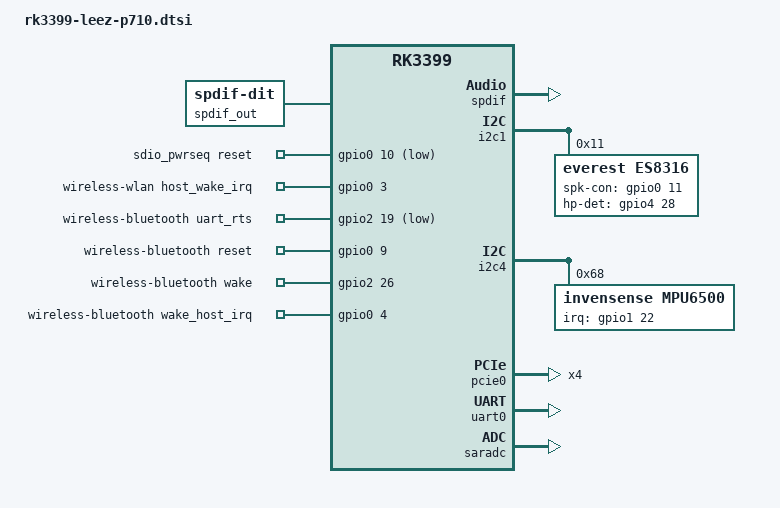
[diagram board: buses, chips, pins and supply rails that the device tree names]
/*
 * Copyright (c) 2016 Fuzhou Rockchip Electronics Co., Ltd
 *
 * This file is dual-licensed: you can use it either under the terms
 * of the GPL or the X11 license, at your option. Note that this dual
 * licensing only applies to this file, and not this project as a
 * whole.
 *
 *  a) This file is free software; you can redistribute it and/or
 *     modify it under the terms of the GNU General Public License as
 *     published by the Free Software Foundation; either version 2 of the
 *     License, or (at your option) any later version.
 *
 *     This file is distributed in the hope that it will be useful,
 *     but WITHOUT ANY WARRANTY; without even the implied warranty of
 *     MERCHANTABILITY or FITNESS FOR A PARTICULAR PURPOSE.  See the
 *     GNU General Public License for more details.
 *
 * Or, alternatively,
 *
 *  b) Permission is hereby granted, free of charge, to any person
 *     obtaining a copy of this software and associated documentation
 *     files (the "Software"), to deal in the Software without
 *     restriction, including without limitation the rights to use,
 *     copy, modify, merge, publish, distribute, sublicense, and/or
 *     sell copies of the Software, and to permit persons to whom the
 *     Software is furnished to do so, subject to the following
 *     conditions:
 *
 *     The above copyright notice and this permission notice shall be
 *     included in all copies or substantial portions of the Software.
 *
 *     THE SOFTWARE IS PROVIDED "AS IS", WITHOUT WARRANTY OF ANY KIND,
 *     EXPRESS OR IMPLIED, INCLUDING BUT NOT LIMITED TO THE WARRANTIES
 *     OF MERCHANTABILITY, FITNESS FOR A PARTICULAR PURPOSE AND
 *     NONINFRINGEMENT. IN NO EVENT SHALL THE AUTHORS OR COPYRIGHT
 *     HOLDERS BE LIABLE FOR ANY CLAIM, DAMAGES OR OTHER LIABILITY,
 *     WHETHER IN AN ACTION OF CONTRACT, TORT OR OTHERWISE, ARISING
 *     FROM, OUT OF OR IN CONNECTION WITH THE SOFTWARE OR THE USE OR
 *     OTHER DEALINGS IN THE SOFTWARE.
 */

#include "rk3399-p710.dtsi"

/ {
	compatible = "rockchip,rk3399-sapphire-excavator", "rockchip,rk3399";
	es8316-sound {
		status = "okay";
		compatible = "simple-audio-card";
		simple-audio-card,format = "i2s";
		simple-audio-card,name = "rockchip,es8316-codec";
		simple-audio-card,mclk-fs = <256>;
		simple-audio-card,widgets =
			"Microphone", "Mic Jack",
			"Headphone", "Headphone Jack";
		simple-audio-card,routing =
			"Mic Jack", "MICBIAS1",
			"IN1P", "Mic Jack",
			"Headphone Jack", "HPOL",
			"Headphone Jack", "HPOR";
		simple-audio-card,cpu {
			sound-dai = <&i2s1>;
		};
		simple-audio-card,codec {
			sound-dai = <&es8316>;
		};
	}; 


	spdif-sound {
		status = "diable";
		compatible = "simple-audio-card";
		simple-audio-card,name = "ROCKCHIP,SPDIF";
		simple-audio-card,cpu {
			sound-dai = <&spdif>;
		};
		simple-audio-card,codec {
			sound-dai = <&spdif_out>;
		};
	};

	spdif_out: spdif-out {
		status = "okay";
		compatible = "linux,spdif-dit";
		#sound-dai-cells = <0>;
	};

	sdio_pwrseq: sdio-pwrseq {
		compatible = "mmc-pwrseq-simple";
		clocks = <&rk808 1>;
		clock-names = "ext_clock";
		pinctrl-names = "default";
		pinctrl-0 = <&wifi_enable_h>;

		/*
		 * On the module itself this is one of these (depending
		 * on the actual card populated):
		 * - SDIO_RESET_L_WL_REG_ON
		 * - PDN (power down when low)
		 */
		reset-gpios = <&gpio0 10 GPIO_ACTIVE_LOW>; /* GPIO0_B2 */
	};

	wireless-wlan {
		compatible = "wlan-platdata";
		rockchip,grf = <&grf>;
		wifi_chip_type = "ap6354";
		sdio_vref = <1800>;
		WIFI,host_wake_irq = <&gpio0 3 GPIO_ACTIVE_HIGH>; /* GPIO0_a3 */
		status = "okay";
	};

	wireless-bluetooth {
		compatible = "bluetooth-platdata";
		clocks = <&rk808 1>;
		clock-names = "ext_clock";
		//wifi-bt-power-toggle;
		uart_rts_gpios = <&gpio2 19 GPIO_ACTIVE_LOW>; /* GPIO2_C3 */
		pinctrl-names = "default", "rts_gpio";
		pinctrl-0 = <&uart0_rts>;
		pinctrl-1 = <&uart0_gpios>;
		//BT,power_gpio  = <&gpio3 19 GPIO_ACTIVE_HIGH>; /* GPIOx_xx */
		BT,reset_gpio    = <&gpio0 9 GPIO_ACTIVE_HIGH>; /* GPIO0_B1 */
		BT,wake_gpio     = <&gpio2 26 GPIO_ACTIVE_HIGH>; /* GPIO2_D2 */
		BT,wake_host_irq = <&gpio0 4 GPIO_ACTIVE_HIGH>; /* GPIO0_A4 */
		status = "okay";
	};
};

&dfi {
	status = "disabled";
};

&dmc {
	status = "disabled";
	center-supply = <&vdd_center>;
	upthreshold = <40>;
	downdifferential = <20>;
	system-status-freq = <
		/*system status         freq(KHz)*/
		SYS_STATUS_NORMAL       800000
		SYS_STATUS_REBOOT       528000
		SYS_STATUS_SUSPEND      200000
		SYS_STATUS_VIDEO_1080P  200000
		SYS_STATUS_VIDEO_4K     600000
		SYS_STATUS_VIDEO_4K_10B 800000
		SYS_STATUS_PERFORMANCE  800000
		SYS_STATUS_BOOST        400000
		SYS_STATUS_DUALVIEW     600000
		SYS_STATUS_ISP          600000
	>;
	vop-bw-dmc-freq = <
	/* min_bw(MB/s) max_bw(MB/s) freq(KHz) */
		0       762      200000
		763     1893     400000
		1894    3012     528000
		3013    99999    800000
	>;
	auto-min-freq = <200000>;
};

&spdif {
	status = "okay";
	pinctrl-0 = <&spdif_bus>;
	i2c-scl-rising-time-ns = <450>;
	i2c-scl-falling-time-ns = <15>;
	#sound-dai-cells = <0>;
};

&i2c1 {
	status = "okay";
	i2c-scl-rising-time-ns = <300>;
	i2c-scl-falling-time-ns = <15>;

    es8316: es8316@10 {
        #sound-dai-cells = <0>;
		compatible = "everest,es8316";
		reg = <0x11>;
		clocks = <&cru SCLK_I2S_8CH_OUT>;
		clock-names = "mclk";
		pinctrl-names = "default";
		pinctrl-0 = <&i2s_8ch_mclk>;
		spk-con-gpio = <&gpio0 11 GPIO_ACTIVE_HIGH>;
		hp-det-gpio = <&gpio4 28 GPIO_ACTIVE_HIGH>;
	};  

};

&i2c4 {
	status = "okay";
	i2c-scl-rising-time-ns = <600>;
	i2c-scl-falling-time-ns = <20>;

	mpu6500@68 {
		status = "okay";
		compatible = "invensense,mpu6500";
		reg = <0x68>;
		irq-gpio = <&gpio1 22 IRQ_TYPE_EDGE_RISING>;
		mpu-int_config = <0x10>;
		mpu-level_shifter = <0>;
		mpu-orientation = <0 1 0 1 0 0 0 0 1>;
		orientation-x= <1>;
		orientation-y= <0>;
		orientation-z= <0>;
		mpu-debug = <1>;
	};
};

&spi1{
    status = "disabled";
    max-freq = <48000000>;
    spi_test@00 {
        compatible = "rockchip,spidev";
         id = <0>;
         reg = <0>;
         spi-max-frequency = <24000000>;  
    };  
    spi_test@01 {
        compatible = "rockchip,spidev";
        id = <1>;
        reg = <1>;
        spi-max-frequency = <24000000>;
        spi-cpha;
        spi-cpol;
    };  
    spi_test@03 {
        compatible = "rockchip,spi_test_bus0_cs0";
         id = <2>;
         reg = <2>;
         spi-max-frequency = <24000000>; 
    }; 
    spi_test@04 {
        compatible = "rockchip,spi_test_bus0_cs1";
        id = <3>;
        reg = <3>;
        spi-max-frequency = <24000000>;
        spi-cpha;
        spi-cpol;
    };  
};

&pcie0 {
	ep-gpios = <&gpio2 4 GPIO_ACTIVE_HIGH>;
	num-lanes = <4>;
	pinctrl-names = "default";
	pinctrl-0 = <&pcie_clkreqn>;
};

&uart0 {
	pinctrl-names = "default";
	pinctrl-0 = <&uart0_xfer &uart0_cts>;
	status = "okay";
};

&saradc {
	status = "okay";
};

&rockchip_suspend {
	status = "okay";
	rockchip,sleep-debug-en = <1>;
	rockchip,sleep-mode-config = <
		(0
		| RKPM_SLP_ARMPD
		| RKPM_SLP_PERILPPD
		| RKPM_SLP_DDR_RET
		| RKPM_SLP_PLLPD
		| RKPM_SLP_CENTER_PD
		| RKPM_SLP_AP_PWROFF
		)
		>;
	rockchip,wakeup-config = <
		(0
		| RKPM_GPIO_WKUP_EN
		| RKPM_PWM_WKUP_EN
		)
		>;
		rockchip,pwm-regulator-config = <
		(0
		| PWM2_REGULATOR_EN
		)
		>;
		rockchip,power-ctrl =
		<&gpio1 17 GPIO_ACTIVE_HIGH>,
		<&gpio1 14 GPIO_ACTIVE_HIGH>;
};

&pinctrl {
	sdio-pwrseq {
		wifi_enable_h: wifi-enable-h {
			rockchip,pins =
				<0 10 RK_FUNC_GPIO &pcfg_pull_none>;
		};
	};

	wireless-bluetooth {
		uart0_gpios: uart0-gpios {
			rockchip,pins =
				<2 19 RK_FUNC_GPIO &pcfg_pull_none>;
		};
	};
};
